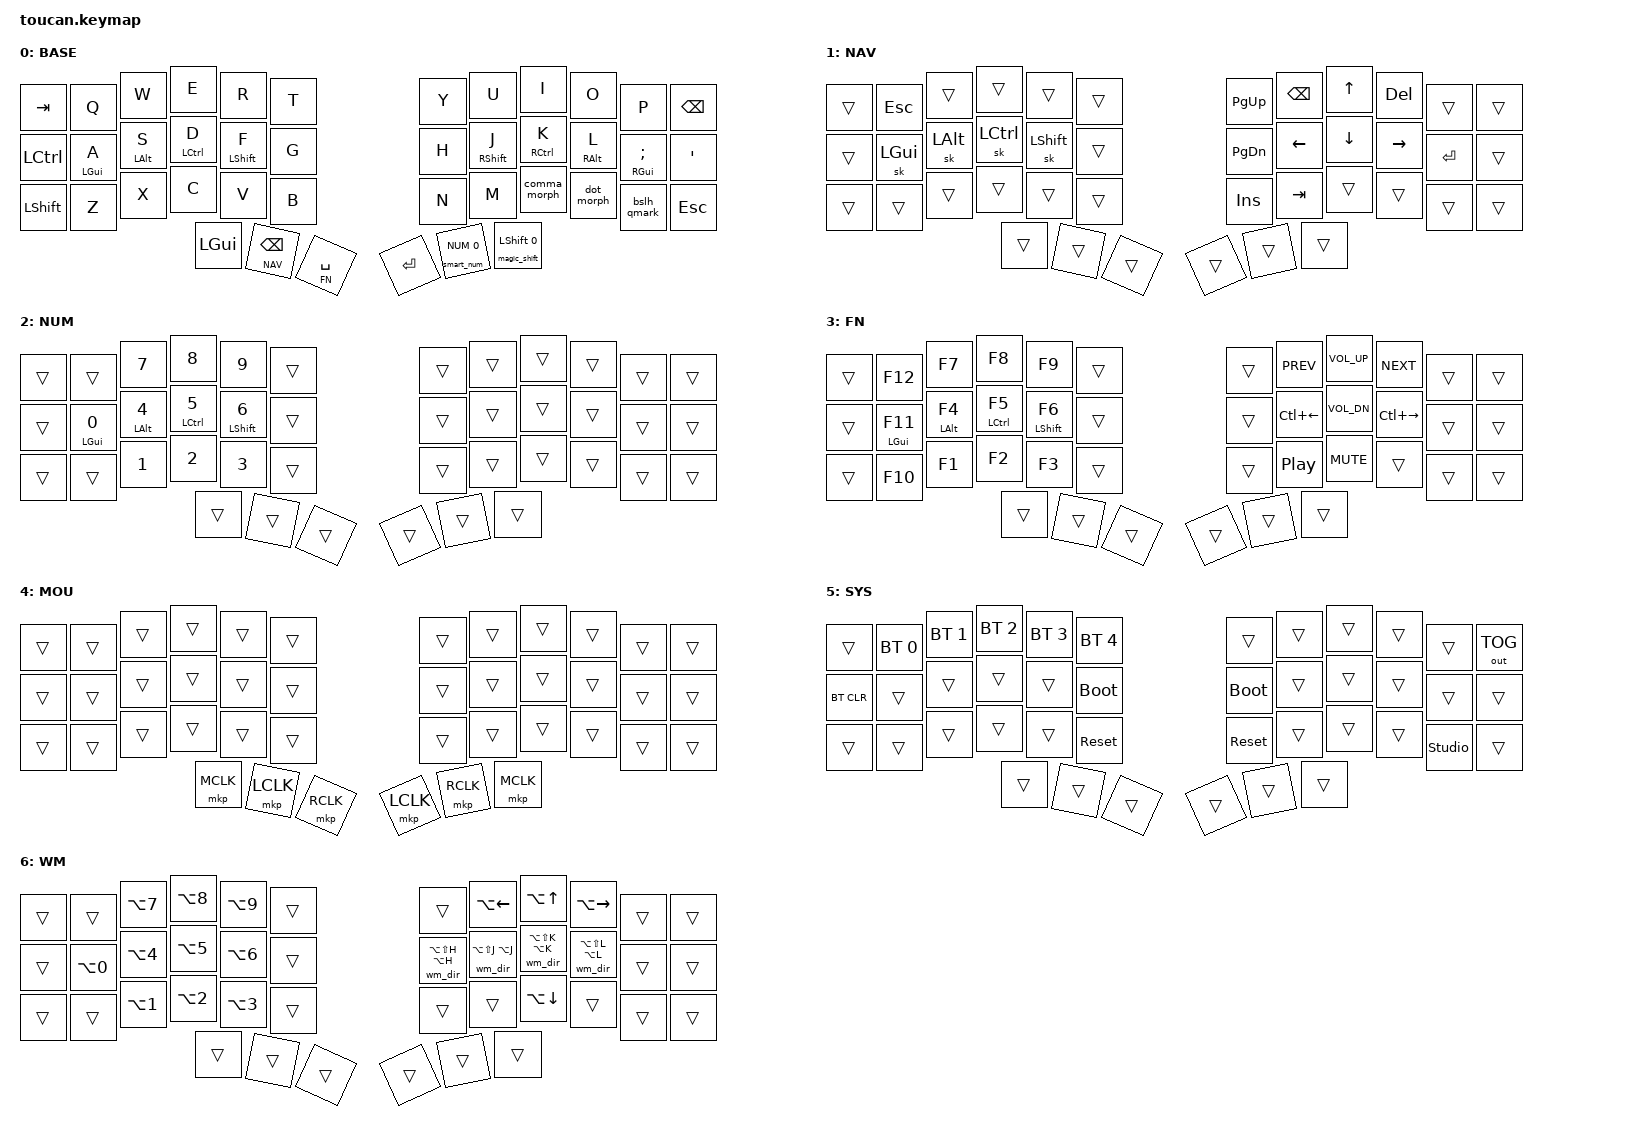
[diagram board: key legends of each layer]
#include <behaviors.dtsi>
#include <dt-bindings/zmk/keys.h>
#include <dt-bindings/zmk/bt.h>
#include <dt-bindings/zmk/outputs.h>
#include <dt-bindings/zmk/pointing.h>
#include <zmk-helpers/helper.h>
#include <zmk-helpers/key-labels/42.h>
#include <behaviors/num_word.dtsi>

/* ── Layer indices ─────────────────────────────────────────────────────────── */
#define BASE  0
#define NAV   1
#define NUM   2
#define FN    3
#define MOUSE 4
#define SYS   5
#define WM    6

/* MOUSE must stay at index 4: toucan_trackpad.dtsi's is_touching_processor
 * hard-codes `&mo 4` to activate this layer while the trackpad is touched,
 * and the scroller input-processor there hard-codes `layers = <1 2>` (NAV,
 * NUM) to switch the trackpad to scroll mode while either is held.
 */

#include "combos.dtsi"

/* ── Readability shorthand ─────────────────────────────────────────────────── */
#define ___ &trans

/* ── Key-position groups (42-key Corne-style: 6 cols × 3 rows + 3 thumbs/side)
 *
 *  LT5 LT4 LT3 LT2 LT1 LT0  RT0 RT1 RT2 RT3 RT4 RT5
 *  LM5 LM4 LM3 LM2 LM1 LM0  RM0 RM1 RM2 RM3 RM4 RM5
 *  LB5 LB4 LB3 LB2 LB1 LB0  RB0 RB1 RB2 RB3 RB4 RB5
 *          LH2 LH1 LH0       RH0 RH1 RH2
 * ─────────────────────────────────────────────────── */
#define KEYS_L LT0 LT1 LT2 LT3 LT4 LT5  LM0 LM1 LM2 LM3 LM4 LM5  LB0 LB1 LB2 LB3 LB4 LB5
#define KEYS_R RT0 RT1 RT2 RT3 RT4 RT5  RM0 RM1 RM2 RM3 RM4 RM5  RB0 RB1 RB2 RB3 RB4 RB5
/* THUMBS comes from key-labels/42.h (THUMBS_L THUMBS_R); no local override needed. */

#include "include/hrm.dtsi"

/* ── Shift morphs (from urob) ────────────────────────────────────────────────
 *  , + Shift → ;    . + Shift → !    \ + Shift → ?
 */
#define SIMPLE_MORPH(NAME, MOD, BINDING1, BINDING2)                            \
  ZMK_MOD_MORPH(NAME, mods = <(MOD_L##MOD | MOD_R##MOD)>;                     \
                bindings = <BINDING1>, <BINDING2>;)

SIMPLE_MORPH(comma_morph, SFT, &kp COMMA, &kp SEMICOLON)
SIMPLE_MORPH(dot_morph,    SFT, &kp DOT,   &kp EXCL)
SIMPLE_MORPH(bslh_qmark,   SFT, &kp BSLH,  &kp QMARK)

/* ── Smart num (numsword) ────────────────────────────────────────────────────
 *  Tap:       num-word (temporary NUM for one word/sequence)
 *  Double-tap: sticky NUM layer
 *  Hold:       NUM layer
 */
#define SMART_NUM &smart_num NUM 0
ZMK_HOLD_TAP(smart_num, bindings = <&mo>, <&num_dance>; flavor = "balanced";
             tapping-term-ms = <200>; quick-tap-ms = <175>;)
ZMK_TAP_DANCE(num_dance, bindings = <&num_word NUM>, <&sl NUM>;
              tapping-term-ms = <200>;)

/* ── Magic shift (caps-word + repeat) ───────────────────────────────────────
 *  Tap after alpha:   repeat the alpha
 *  Tap after non-alpha: sticky shift
 *  Shift + tap:        caps-word
 *  Hold:               shift
 */
#define MAGIC_SHIFT &magic_shift LSHFT 0
ZMK_HOLD_TAP(magic_shift, bindings = <&kp>, <&magic_shift_tap>;
             flavor = "balanced"; tapping-term-ms = <200>;
             quick-tap-ms = <175>;)
ZMK_MOD_MORPH(magic_shift_tap, bindings = <&shift_repeat>, <&caps_word>;
              mods = <(MOD_LSFT)>;)
ZMK_ADAPTIVE_KEY(
    shift_repeat, bindings = <&sk LSHFT>;
    repeat {
      trigger-keys = <A B C D E F G H I J K L M N O P Q R S T U V W X Y Z>;
      bindings = <&key_repeat>;
      max-prior-idle-ms = <1200>;
      strict-modifiers;
    };)
&caps_word {
  /delete-property/ ignore-modifiers;
};

/* ── Conditional layer: FN + NUM = SYS ─────────────────────────────────────── */
ZMK_CONDITIONAL_LAYER(sys, FN NUM, SYS)

/* ── Conditional layer: NAV + FN = WM (window manager / multiplexer) ────────── */
ZMK_CONDITIONAL_LAYER(wm, NAV FN, WM)

/* ── WM direction keys: tap = Alt+letter (AeroSpace focus), hold = Alt+Shift+letter
 * (AeroSpace move). Params are (hold, tap), same convention as smart_num/magic_shift. */
ZMK_HOLD_TAP(wm_dir, bindings = <&kp>, <&kp>; flavor = "balanced";
             tapping-term-ms = <200>; quick-tap-ms = <175>;)

/ {
    keymap {
        compatible = "zmk,keymap";

        /* BASE — QWERTY with timerless home-row mods (GACS order, pinky→index)
         *
         *  Thumb cluster:
         *    L0: LGUI          L1: NAV/BSPC       L2: FN/SPACE
         *    R0: RET           R1: SMART_NUM      R2: MAGIC_SHIFT
         *
         *  SYS is reached only via the FN+NUM conditional layer below — there's
         *  no dedicated thumb key for it (RALT was dropped too).
         *
         *  Punctuation morphs on bottom row: , → ; . → ! \ → ?
         *  Outer columns (LCTRL/LSHFT/BSPC/SQT/ESC) are kept for direct access
         *  alongside the HRMs on the inner home row.
         */
        base {
            display-name = "BASE";
            bindings = <
// ╭──────────┬──────────────────┬──────────────────┬──────────────────┬──────────────────┬─────────╮ ╭─────────┬──────────────────┬──────────────────┬───────────────┬──────────────────┬──────────╮
   &kp TAB     &kp Q              &kp W              &kp E              &kp R              &kp T       &kp Y     &kp U              &kp I              &kp O           &kp P              &kp BSPC
// ├──────────┼──────────────────┼──────────────────┼──────────────────┼──────────────────┼─────────┤ ├─────────┼──────────────────┼──────────────────┼───────────────┼──────────────────┼──────────┤
   &kp LCTRL   &hml LGUI A        &hml LALT S        &hml LCTRL D       &hml LSHFT F       &kp G       &kp H     &hmr RSHFT J       &hmr RCTRL K       &hmr RALT L     &hmr RGUI SEMI     &kp SQT
// ├──────────┼──────────────────┼──────────────────┼──────────────────┼──────────────────┼─────────┤ ├─────────┼──────────────────┼──────────────────┼───────────────┼──────────────────┼──────────┤
   &kp LSHFT   &kp Z              &kp X              &kp C              &kp V              &kp B       &kp N     &kp M              &comma_morph       &dot_morph      &bslh_qmark        &kp ESC
// ╰──────────┴──────────────────┴──────────────────┼──────────────────┼──────────────────┼─────────┤ ├─────────┼──────────────────┼──────────────────┼───────────────┴──────────────────┴──────────╯
                                                      &kp LGUI           &lt NAV BSPC       &lt FN SPACE    &kp RET            &smart_num NUM 0   &magic_shift LSHFT 0
//                                                  ╰──────────────────┴──────────────────┴─────────╯ ╰─────────┴──────────────────┴──────────────────╯
            >;
        };

        /* NAV — navigation + one-shot mods
         *
         *  Left side: ESC at LT4 (NAV + Q); sticky mods for chorded nav
         *  (e.g. sk LSHFT → RIGHT = Shift+Right)
         *  Right side: arrow cluster, page up/down, backspace, delete, insert, tab, enter
         *  Outer columns fall through to BASE (TAB / LCTRL / LSHFT / BSPC / SQT / ESC).
         */
        nav {
            display-name = "NAV";
            bindings = <
// ╭──────────┬─────────┬─────────┬──────────┬──────────┬─────╮ ╭───────────┬──────────┬──────────┬───────────┬─────────┬──────────╮
   ___          &kp ESC   ___       ___         ___        ___    &kp PG_UP   &kp BSPC   &kp UP     &kp DEL     ___       ___
// ├──────────┼─────────┼─────────┼──────────┼──────────┼─────┤ ├───────────┼──────────┼──────────┼───────────┼─────────┼──────────┤
   ___          &sk LGUI  &sk LALT  &sk LCTRL   &sk LSHFT  ___    &kp PG_DN   &kp LEFT   &kp DOWN   &kp RIGHT   &kp RET   ___
// ├──────────┼─────────┼─────────┼──────────┼──────────┼─────┤ ├───────────┼──────────┼──────────┼───────────┼─────────┼──────────┤
   ___          ___       ___       ___         ___        ___    &kp INS     &kp TAB    ___        ___         ___       ___
// ╰──────────┴─────────┴─────────┼──────────┼──────────┼─────┤ ├───────────┼──────────┼──────────┼───────────┴─────────┴──────────╯
                                    ___         ___        ___    ___         ___        ___
//                                 ╰──────────┴──────────┴─────╯ ╰───────────┴──────────┴──────────╯
            >;
        };

        /* NUM — numpad-style numbers with HRMs for modifier access */
        num {
            display-name = "NUM";
            bindings = <
// ╭──────────┬─────┬──────────┬──────────┬──────────┬─────╮ ╭─────┬─────┬─────┬─────┬─────┬──────────╮
   ___          ___   &kp N7    &kp N8     &kp N9     ___    ___   ___   ___   ___   ___   ___
// ├──────────┼─────┼──────────┼──────────┼──────────┼─────┤ ├─────┼─────┼─────┼─────┼─────┼──────────┤
   ___          &hml LGUI N0   &hml LALT N4   &hml LCTRL N5   &hml LSHFT N6   ___    ___   ___   ___   ___   ___   ___
// ├──────────┼─────┼──────────┼──────────┼──────────┼─────┤ ├─────┼─────┼─────┼─────┼─────┼──────────┤
   ___          ___   &kp N1    &kp N2     &kp N3     ___    ___   ___   ___   ___   ___   ___
// ╰──────────┴─────┴──────────┼──────────┼──────────┼─────┤ ├─────┼─────┼─────┼─────┴─────┴──────────╯
                                ___        ___        ___    ___   ___   ___
//                             ╰──────────┴──────────┴─────╯ ╰─────┴─────┴─────╯
            >;
        };

        /* FN — function keys + media controls
         *
         *  Left side: F1–F12 with HRMs for modifier access
         *  Right side: media prev/next/vol, desktop prev/next (LC/RC arrow)
         *  Thumbs transparent — mute/play-pause already live on the FN home row.
         */
        fn {
            display-name = "FN";
            bindings = <
// ╭──────────┬──────────┬──────────┬──────────┬──────────┬─────╮ ╭─────┬───────────┬────────────┬────────────┬─────┬──────────╮
   ___          &kp F12    &kp F7     &kp F8     &kp F9     ___    ___   &kp C_PREV   &kp C_VOL_UP  &kp C_NEXT   ___   ___
// ├──────────┼──────────┼──────────┼──────────┼──────────┼─────┤ ├─────┼───────────┼────────────┼────────────┼─────┼──────────┤
   ___          &hml LGUI F11   &hml LALT F4   &hml LCTRL F5   &hml LSHFT F6   ___    ___   &kp LC(LEFT)   &kp C_VOL_DN   &kp LC(RIGHT)   ___   ___
// ├──────────┼──────────┼──────────┼──────────┼──────────┼─────┤ ├─────┼───────────┼────────────┼────────────┼─────┼──────────┤
   ___          &kp F10    &kp F1     &kp F2     &kp F3     ___    ___   &kp C_PP    &kp C_MUTE   ___          ___   ___
// ╰──────────┴──────────┴──────────┼──────────┼──────────┼─────┤ ├─────┼───────────┼────────────┼────────────┴─────┴──────────╯
                                      ___        ___        ___    ___          ___        ___
//                                   ╰──────────┴──────────┴─────╯ ╰───────────┴────────────┴────────────╯
            >;
        };

        /* MOUSE — reachable only while a finger is on the trackpad
         * (input_processors/is_touching_processor in toucan_trackpad.dtsi
         * momentarily activates this layer on INPUT_BTN_TOUCH).
         */
        mouse {
            display-name = "MOU";
            bindings = <
// ╭──────────┬─────┬─────┬─────┬─────┬─────╮ ╭─────┬─────┬─────┬─────┬─────┬──────────╮
   ___          ___   ___   ___   ___   ___    ___   ___   ___   ___   ___   ___
// ├──────────┼─────┼─────┼─────┼─────┼─────┤ ├─────┼─────┼─────┼─────┼─────┼──────────┤
   ___          ___   ___   ___   ___   ___    ___   ___   ___   ___   ___   ___
// ├──────────┼─────┼─────┼─────┼─────┼─────┤ ├─────┼─────┼─────┼─────┼─────┼──────────┤
   ___          ___   ___   ___   ___   ___    ___   ___   ___   ___   ___   ___
// ╰──────────┴─────┴─────┼─────┼─────┼─────┤ ├─────┼─────┼─────┼─────┴─────┴──────────╯
                            &mkp MCLK   &mkp LCLK   &mkp RCLK   &mkp LCLK   &mkp RCLK   &mkp MCLK
//                         ╰─────┴─────┴─────╯ ╰─────┴─────┴─────╯
            >;
        };

        /* SYS — Bluetooth profile selection + system controls */
        sys {
            display-name = "SYS";
            bindings = <
// ╭──────────┬──────────────┬──────────────┬──────────────┬──────────────┬──────────────╮ ╭─────┬─────┬─────┬─────┬─────┬──────────────╮
   ___          &bt BT_SEL 0   &bt BT_SEL 1   &bt BT_SEL 2   &bt BT_SEL 3   &bt BT_SEL 4   ___   ___   ___   ___   ___   &out OUT_TOG
// ├──────────┼──────────────┼──────────────┼──────────────┼──────────────┼──────────────┤ ├─────┼─────┼─────┼─────┼─────┼──────────────┤
   &bt BT_CLR   ___            ___            ___            ___            &bootloader      &bootloader   ___   ___   ___   ___   ___
// ├──────────┼──────────────┼──────────────┼──────────────┼──────────────┼──────────────┤ ├─────┼─────┼─────┼─────┼──────────────┼──────────────┤
   ___          ___            ___            ___            ___            &sys_reset       &sys_reset   ___   ___   ___   &studio_unlock   ___
// ╰──────────┴──────────────┴──────────────┼──────────────┼──────────────┼──────────────┤ ├─────┼─────┼─────┼─────┴──────────────┴──────────────╯
                                              ___            ___            ___              ___   ___   ___
//                                           ╰──────────────┴──────────────┴──────────────╯ ╰─────┴─────┴─────╯
            >;
        };

        /* WM — AeroSpace + tmux, reached by holding NAV + FN together
         *
         *  Numbers reuse NUM's exact digit positions (workspace jump, Alt+N).
         *  H/J/K/L: tap = focus in that direction, hold = move window that way.
         *  U/I/O + , : tmux's no-prefix Alt+Arrow pane switching.
         *  Outer columns unused, same as everywhere else on this layer set.
         */
        wm {
            display-name = "WM";
            bindings = <
// ╭──────────┬─────┬──────────┬──────────┬──────────┬─────╮ ╭─────┬──────────────┬────────────┬───────────────┬─────┬──────────╮
   ___          ___   &kp LA(N7)  &kp LA(N8)  &kp LA(N9)  ___    ___   &kp LA(LEFT)   &kp LA(UP)   &kp LA(RIGHT)   ___   ___
// ├──────────┼─────┼──────────┼──────────┼──────────┼─────┤ ├─────┼──────────────┼────────────┼───────────────┼─────┼──────────┤
   ___          &kp LA(N0)  &kp LA(N4)  &kp LA(N5)  &kp LA(N6)  ___    &wm_dir LA(LS(H)) LA(H)  &wm_dir LA(LS(J)) LA(J)  &wm_dir LA(LS(K)) LA(K)  &wm_dir LA(LS(L)) LA(L)  ___   ___
// ├──────────┼─────┼──────────┼──────────┼──────────┼─────┤ ├─────┼──────────────┼────────────┼───────────────┼─────┼──────────┤
   ___          ___   &kp LA(N1)  &kp LA(N2)  &kp LA(N3)  ___    ___   ___            &kp LA(DOWN) ___             ___   ___
// ╰──────────┴─────┴──────────┼──────────┼──────────┼─────┤ ├─────┼──────────────┼────────────┼───────────────┴─────┴──────────╯
                                ___        ___        ___    ___   ___              ___
//                             ╰──────────┴──────────┴─────╯ ╰─────┴──────────────┴────────────╯
            >;
        };

        extra_3 {
                status = "reserved";
        };
    };
};
